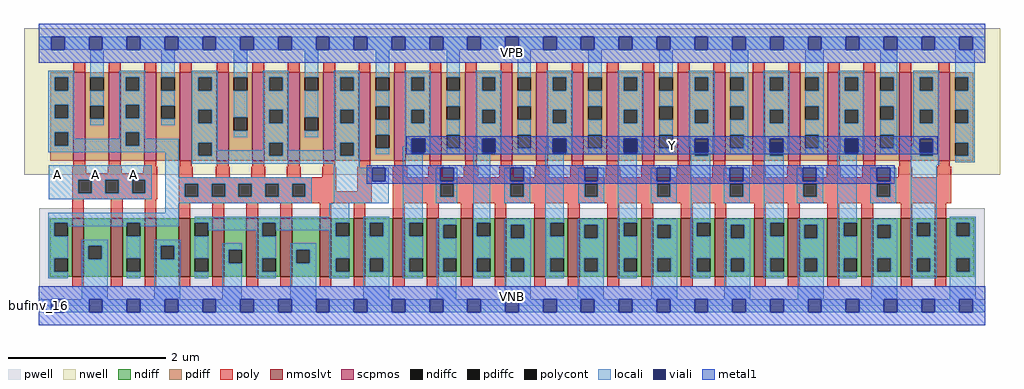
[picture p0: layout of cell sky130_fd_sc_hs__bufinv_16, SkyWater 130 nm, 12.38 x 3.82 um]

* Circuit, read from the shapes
.subckt sky130_fd_sc_hs__bufinv_16 A VGND VNB VPB VPWR Y
XM1 VGND A n1 VNB sky130_fd_pr__nfet_01v8_lvt w=0.74 l=0.15 m=3
XM2 n2 n1 VGND VNB sky130_fd_pr__nfet_01v8_lvt w=0.74 l=0.15 m=6
XM3 Y n2 VGND VNB sky130_fd_pr__nfet_01v8_lvt w=0.74 l=0.15 m=16
XM4 VPWR A n1 VPB sky130_fd_pr__pfet_01v8 w=1.12 l=0.15 m=3
XM5 n2 n1 VPWR VPB sky130_fd_pr__pfet_01v8 w=1.12 l=0.15 m=6
XM6 Y n2 VPWR VPB sky130_fd_pr__pfet_01v8 w=1.12 l=0.15 m=16
.ends

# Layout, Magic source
magic
tech sky130A
magscale 1 2
<< nwell >>
rect -38 332 2438 704
<< pwell >>
rect 1 49 2399 248
rect 0 0 2400 49
<< scpmos >>
rect 87 368 117 592
rect 177 368 207 592
rect 267 368 297 592
rect 357 368 387 592
rect 451 368 481 592
rect 541 368 571 592
rect 631 368 661 592
rect 721 368 751 592
rect 811 368 841 592
rect 901 368 931 592
rect 991 368 1021 592
rect 1081 368 1111 592
rect 1171 368 1201 592
rect 1261 368 1291 592
rect 1351 368 1381 592
rect 1441 368 1471 592
rect 1531 368 1561 592
rect 1621 368 1651 592
rect 1711 368 1741 592
rect 1811 368 1841 592
rect 1901 368 1931 592
rect 2001 368 2031 592
rect 2091 368 2121 592
rect 2183 368 2213 592
rect 2281 368 2311 592
<< nmoslvt >>
rect 84 74 114 222
rect 182 74 212 222
rect 268 74 298 222
rect 354 74 384 222
rect 440 74 470 222
rect 526 74 556 222
rect 612 74 642 222
rect 712 74 742 222
rect 798 74 828 222
rect 898 74 928 222
rect 984 74 1014 222
rect 1070 74 1100 222
rect 1156 74 1186 222
rect 1256 74 1286 222
rect 1342 74 1372 222
rect 1442 74 1472 222
rect 1528 74 1558 222
rect 1628 74 1658 222
rect 1714 74 1744 222
rect 1814 74 1844 222
rect 1900 74 1930 222
rect 2000 74 2030 222
rect 2086 74 2116 222
rect 2186 74 2216 222
rect 2272 74 2302 222
<< ndiff >>
rect 27 210 84 222
rect 27 176 39 210
rect 73 176 84 210
rect 27 120 84 176
rect 27 86 39 120
rect 73 86 84 120
rect 27 74 84 86
rect 114 152 182 222
rect 114 118 125 152
rect 159 118 182 152
rect 114 74 182 118
rect 212 210 268 222
rect 212 176 223 210
rect 257 176 268 210
rect 212 120 268 176
rect 212 86 223 120
rect 257 86 268 120
rect 212 74 268 86
rect 298 152 354 222
rect 298 118 309 152
rect 343 118 354 152
rect 298 74 354 118
rect 384 210 440 222
rect 384 176 395 210
rect 429 176 440 210
rect 384 120 440 176
rect 384 86 395 120
rect 429 86 440 120
rect 384 74 440 86
rect 470 142 526 222
rect 470 108 481 142
rect 515 108 526 142
rect 470 74 526 108
rect 556 210 612 222
rect 556 176 567 210
rect 601 176 612 210
rect 556 120 612 176
rect 556 86 567 120
rect 601 86 612 120
rect 556 74 612 86
rect 642 142 712 222
rect 642 108 653 142
rect 687 108 712 142
rect 642 74 712 108
rect 742 210 798 222
rect 742 176 753 210
rect 787 176 798 210
rect 742 120 798 176
rect 742 86 753 120
rect 787 86 798 120
rect 742 74 798 86
rect 828 210 898 222
rect 828 176 839 210
rect 873 176 898 210
rect 828 120 898 176
rect 828 86 839 120
rect 873 86 898 120
rect 828 74 898 86
rect 928 210 984 222
rect 928 176 939 210
rect 973 176 984 210
rect 928 120 984 176
rect 928 86 939 120
rect 973 86 984 120
rect 928 74 984 86
rect 1014 205 1070 222
rect 1014 171 1025 205
rect 1059 171 1070 205
rect 1014 120 1070 171
rect 1014 86 1025 120
rect 1059 86 1070 120
rect 1014 74 1070 86
rect 1100 210 1156 222
rect 1100 176 1111 210
rect 1145 176 1156 210
rect 1100 120 1156 176
rect 1100 86 1111 120
rect 1145 86 1156 120
rect 1100 74 1156 86
rect 1186 205 1256 222
rect 1186 171 1197 205
rect 1231 171 1256 205
rect 1186 120 1256 171
rect 1186 86 1197 120
rect 1231 86 1256 120
rect 1186 74 1256 86
rect 1286 210 1342 222
rect 1286 176 1297 210
rect 1331 176 1342 210
rect 1286 120 1342 176
rect 1286 86 1297 120
rect 1331 86 1342 120
rect 1286 74 1342 86
rect 1372 205 1442 222
rect 1372 171 1383 205
rect 1417 171 1442 205
rect 1372 120 1442 171
rect 1372 86 1383 120
rect 1417 86 1442 120
rect 1372 74 1442 86
rect 1472 210 1528 222
rect 1472 176 1483 210
rect 1517 176 1528 210
rect 1472 120 1528 176
rect 1472 86 1483 120
rect 1517 86 1528 120
rect 1472 74 1528 86
rect 1558 205 1628 222
rect 1558 171 1569 205
rect 1603 171 1628 205
rect 1558 120 1628 171
rect 1558 86 1569 120
rect 1603 86 1628 120
rect 1558 74 1628 86
rect 1658 210 1714 222
rect 1658 176 1669 210
rect 1703 176 1714 210
rect 1658 120 1714 176
rect 1658 86 1669 120
rect 1703 86 1714 120
rect 1658 74 1714 86
rect 1744 205 1814 222
rect 1744 171 1755 205
rect 1789 171 1814 205
rect 1744 120 1814 171
rect 1744 86 1755 120
rect 1789 86 1814 120
rect 1744 74 1814 86
rect 1844 210 1900 222
rect 1844 176 1855 210
rect 1889 176 1900 210
rect 1844 120 1900 176
rect 1844 86 1855 120
rect 1889 86 1900 120
rect 1844 74 1900 86
rect 1930 205 2000 222
rect 1930 171 1941 205
rect 1975 171 2000 205
rect 1930 120 2000 171
rect 1930 86 1941 120
rect 1975 86 2000 120
rect 1930 74 2000 86
rect 2030 210 2086 222
rect 2030 176 2041 210
rect 2075 176 2086 210
rect 2030 120 2086 176
rect 2030 86 2041 120
rect 2075 86 2086 120
rect 2030 74 2086 86
rect 2116 205 2186 222
rect 2116 171 2127 205
rect 2161 171 2186 205
rect 2116 120 2186 171
rect 2116 86 2127 120
rect 2161 86 2186 120
rect 2116 74 2186 86
rect 2216 210 2272 222
rect 2216 176 2227 210
rect 2261 176 2272 210
rect 2216 120 2272 176
rect 2216 86 2227 120
rect 2261 86 2272 120
rect 2216 74 2272 86
rect 2302 210 2373 222
rect 2302 176 2327 210
rect 2361 176 2373 210
rect 2302 120 2373 176
rect 2302 86 2327 120
rect 2361 86 2373 120
rect 2302 74 2373 86
<< pdiff >>
rect 28 580 87 592
rect 28 546 40 580
rect 74 546 87 580
rect 28 510 87 546
rect 28 476 40 510
rect 74 476 87 510
rect 28 440 87 476
rect 28 406 40 440
rect 74 406 87 440
rect 28 368 87 406
rect 117 580 177 592
rect 117 546 130 580
rect 164 546 177 580
rect 117 508 177 546
rect 117 474 130 508
rect 164 474 177 508
rect 117 368 177 474
rect 207 580 267 592
rect 207 546 220 580
rect 254 546 267 580
rect 207 510 267 546
rect 207 476 220 510
rect 254 476 267 510
rect 207 440 267 476
rect 207 406 220 440
rect 254 406 267 440
rect 207 368 267 406
rect 297 580 357 592
rect 297 546 310 580
rect 344 546 357 580
rect 297 508 357 546
rect 297 474 310 508
rect 344 474 357 508
rect 297 368 357 474
rect 387 580 451 592
rect 387 546 404 580
rect 438 546 451 580
rect 387 497 451 546
rect 387 463 404 497
rect 438 463 451 497
rect 387 414 451 463
rect 387 380 404 414
rect 438 380 451 414
rect 387 368 451 380
rect 481 580 541 592
rect 481 546 494 580
rect 528 546 541 580
rect 481 478 541 546
rect 481 444 494 478
rect 528 444 541 478
rect 481 368 541 444
rect 571 580 631 592
rect 571 546 584 580
rect 618 546 631 580
rect 571 497 631 546
rect 571 463 584 497
rect 618 463 631 497
rect 571 414 631 463
rect 571 380 584 414
rect 618 380 631 414
rect 571 368 631 380
rect 661 580 721 592
rect 661 546 674 580
rect 708 546 721 580
rect 661 478 721 546
rect 661 444 674 478
rect 708 444 721 478
rect 661 368 721 444
rect 751 580 811 592
rect 751 546 764 580
rect 798 546 811 580
rect 751 497 811 546
rect 751 463 764 497
rect 798 463 811 497
rect 751 414 811 463
rect 751 380 764 414
rect 798 380 811 414
rect 751 368 811 380
rect 841 580 901 592
rect 841 546 854 580
rect 888 546 901 580
rect 841 506 901 546
rect 841 472 854 506
rect 888 472 901 506
rect 841 434 901 472
rect 841 400 854 434
rect 888 400 901 434
rect 841 368 901 400
rect 931 580 991 592
rect 931 546 944 580
rect 978 546 991 580
rect 931 497 991 546
rect 931 463 944 497
rect 978 463 991 497
rect 931 418 991 463
rect 931 384 944 418
rect 978 384 991 418
rect 931 368 991 384
rect 1021 580 1081 592
rect 1021 546 1034 580
rect 1068 546 1081 580
rect 1021 506 1081 546
rect 1021 472 1034 506
rect 1068 472 1081 506
rect 1021 434 1081 472
rect 1021 400 1034 434
rect 1068 400 1081 434
rect 1021 368 1081 400
rect 1111 580 1171 592
rect 1111 546 1124 580
rect 1158 546 1171 580
rect 1111 497 1171 546
rect 1111 463 1124 497
rect 1158 463 1171 497
rect 1111 418 1171 463
rect 1111 384 1124 418
rect 1158 384 1171 418
rect 1111 368 1171 384
rect 1201 580 1261 592
rect 1201 546 1214 580
rect 1248 546 1261 580
rect 1201 506 1261 546
rect 1201 472 1214 506
rect 1248 472 1261 506
rect 1201 434 1261 472
rect 1201 400 1214 434
rect 1248 400 1261 434
rect 1201 368 1261 400
rect 1291 580 1351 592
rect 1291 546 1304 580
rect 1338 546 1351 580
rect 1291 497 1351 546
rect 1291 463 1304 497
rect 1338 463 1351 497
rect 1291 418 1351 463
rect 1291 384 1304 418
rect 1338 384 1351 418
rect 1291 368 1351 384
rect 1381 580 1441 592
rect 1381 546 1394 580
rect 1428 546 1441 580
rect 1381 506 1441 546
rect 1381 472 1394 506
rect 1428 472 1441 506
rect 1381 434 1441 472
rect 1381 400 1394 434
rect 1428 400 1441 434
rect 1381 368 1441 400
rect 1471 580 1531 592
rect 1471 546 1484 580
rect 1518 546 1531 580
rect 1471 497 1531 546
rect 1471 463 1484 497
rect 1518 463 1531 497
rect 1471 418 1531 463
rect 1471 384 1484 418
rect 1518 384 1531 418
rect 1471 368 1531 384
rect 1561 580 1621 592
rect 1561 546 1574 580
rect 1608 546 1621 580
rect 1561 506 1621 546
rect 1561 472 1574 506
rect 1608 472 1621 506
rect 1561 434 1621 472
rect 1561 400 1574 434
rect 1608 400 1621 434
rect 1561 368 1621 400
rect 1651 580 1711 592
rect 1651 546 1664 580
rect 1698 546 1711 580
rect 1651 497 1711 546
rect 1651 463 1664 497
rect 1698 463 1711 497
rect 1651 414 1711 463
rect 1651 380 1664 414
rect 1698 380 1711 414
rect 1651 368 1711 380
rect 1741 580 1811 592
rect 1741 546 1754 580
rect 1788 546 1811 580
rect 1741 506 1811 546
rect 1741 472 1754 506
rect 1788 472 1811 506
rect 1741 434 1811 472
rect 1741 400 1754 434
rect 1788 400 1811 434
rect 1741 368 1811 400
rect 1841 580 1901 592
rect 1841 546 1854 580
rect 1888 546 1901 580
rect 1841 497 1901 546
rect 1841 463 1854 497
rect 1888 463 1901 497
rect 1841 414 1901 463
rect 1841 380 1854 414
rect 1888 380 1901 414
rect 1841 368 1901 380
rect 1931 580 2001 592
rect 1931 546 1944 580
rect 1978 546 2001 580
rect 1931 506 2001 546
rect 1931 472 1944 506
rect 1978 472 2001 506
rect 1931 434 2001 472
rect 1931 400 1944 434
rect 1978 400 2001 434
rect 1931 368 2001 400
rect 2031 580 2091 592
rect 2031 546 2044 580
rect 2078 546 2091 580
rect 2031 497 2091 546
rect 2031 463 2044 497
rect 2078 463 2091 497
rect 2031 418 2091 463
rect 2031 384 2044 418
rect 2078 384 2091 418
rect 2031 368 2091 384
rect 2121 580 2183 592
rect 2121 546 2134 580
rect 2168 546 2183 580
rect 2121 506 2183 546
rect 2121 472 2134 506
rect 2168 472 2183 506
rect 2121 434 2183 472
rect 2121 400 2134 434
rect 2168 400 2183 434
rect 2121 368 2183 400
rect 2213 580 2281 592
rect 2213 546 2234 580
rect 2268 546 2281 580
rect 2213 497 2281 546
rect 2213 463 2234 497
rect 2268 463 2281 497
rect 2213 414 2281 463
rect 2213 380 2234 414
rect 2268 380 2281 414
rect 2213 368 2281 380
rect 2311 580 2370 592
rect 2311 546 2324 580
rect 2358 546 2370 580
rect 2311 497 2370 546
rect 2311 463 2324 497
rect 2358 463 2370 497
rect 2311 414 2370 463
rect 2311 380 2324 414
rect 2358 380 2370 414
rect 2311 368 2370 380
<< ndiffc >>
rect 39 176 73 210
rect 39 86 73 120
rect 125 118 159 152
rect 223 176 257 210
rect 223 86 257 120
rect 309 118 343 152
rect 395 176 429 210
rect 395 86 429 120
rect 481 108 515 142
rect 567 176 601 210
rect 567 86 601 120
rect 653 108 687 142
rect 753 176 787 210
rect 753 86 787 120
rect 839 176 873 210
rect 839 86 873 120
rect 939 176 973 210
rect 939 86 973 120
rect 1025 171 1059 205
rect 1025 86 1059 120
rect 1111 176 1145 210
rect 1111 86 1145 120
rect 1197 171 1231 205
rect 1197 86 1231 120
rect 1297 176 1331 210
rect 1297 86 1331 120
rect 1383 171 1417 205
rect 1383 86 1417 120
rect 1483 176 1517 210
rect 1483 86 1517 120
rect 1569 171 1603 205
rect 1569 86 1603 120
rect 1669 176 1703 210
rect 1669 86 1703 120
rect 1755 171 1789 205
rect 1755 86 1789 120
rect 1855 176 1889 210
rect 1855 86 1889 120
rect 1941 171 1975 205
rect 1941 86 1975 120
rect 2041 176 2075 210
rect 2041 86 2075 120
rect 2127 171 2161 205
rect 2127 86 2161 120
rect 2227 176 2261 210
rect 2227 86 2261 120
rect 2327 176 2361 210
rect 2327 86 2361 120
<< pdiffc >>
rect 40 546 74 580
rect 40 476 74 510
rect 40 406 74 440
rect 130 546 164 580
rect 130 474 164 508
rect 220 546 254 580
rect 220 476 254 510
rect 220 406 254 440
rect 310 546 344 580
rect 310 474 344 508
rect 404 546 438 580
rect 404 463 438 497
rect 404 380 438 414
rect 494 546 528 580
rect 494 444 528 478
rect 584 546 618 580
rect 584 463 618 497
rect 584 380 618 414
rect 674 546 708 580
rect 674 444 708 478
rect 764 546 798 580
rect 764 463 798 497
rect 764 380 798 414
rect 854 546 888 580
rect 854 472 888 506
rect 854 400 888 434
rect 944 546 978 580
rect 944 463 978 497
rect 944 384 978 418
rect 1034 546 1068 580
rect 1034 472 1068 506
rect 1034 400 1068 434
rect 1124 546 1158 580
rect 1124 463 1158 497
rect 1124 384 1158 418
rect 1214 546 1248 580
rect 1214 472 1248 506
rect 1214 400 1248 434
rect 1304 546 1338 580
rect 1304 463 1338 497
rect 1304 384 1338 418
rect 1394 546 1428 580
rect 1394 472 1428 506
rect 1394 400 1428 434
rect 1484 546 1518 580
rect 1484 463 1518 497
rect 1484 384 1518 418
rect 1574 546 1608 580
rect 1574 472 1608 506
rect 1574 400 1608 434
rect 1664 546 1698 580
rect 1664 463 1698 497
rect 1664 380 1698 414
rect 1754 546 1788 580
rect 1754 472 1788 506
rect 1754 400 1788 434
rect 1854 546 1888 580
rect 1854 463 1888 497
rect 1854 380 1888 414
rect 1944 546 1978 580
rect 1944 472 1978 506
rect 1944 400 1978 434
rect 2044 546 2078 580
rect 2044 463 2078 497
rect 2044 384 2078 418
rect 2134 546 2168 580
rect 2134 472 2168 506
rect 2134 400 2168 434
rect 2234 546 2268 580
rect 2234 463 2268 497
rect 2234 380 2268 414
rect 2324 546 2358 580
rect 2324 463 2358 497
rect 2324 380 2358 414
<< poly >>
rect 87 592 117 618
rect 177 592 207 618
rect 267 592 297 618
rect 357 592 387 618
rect 451 592 481 618
rect 541 592 571 618
rect 631 592 661 618
rect 721 592 751 618
rect 811 592 841 618
rect 901 592 931 618
rect 991 592 1021 618
rect 1081 592 1111 618
rect 1171 592 1201 618
rect 1261 592 1291 618
rect 1351 592 1381 618
rect 1441 592 1471 618
rect 1531 592 1561 618
rect 1621 592 1651 618
rect 1711 592 1741 618
rect 1811 592 1841 618
rect 1901 592 1931 618
rect 2001 592 2031 618
rect 2091 592 2121 618
rect 2183 592 2213 618
rect 2281 592 2311 618
rect 87 353 117 368
rect 177 353 207 368
rect 267 353 297 368
rect 357 353 387 368
rect 451 353 481 368
rect 541 353 571 368
rect 631 353 661 368
rect 721 353 751 368
rect 811 353 841 368
rect 901 353 931 368
rect 991 353 1021 368
rect 1081 353 1111 368
rect 1171 353 1201 368
rect 1261 353 1291 368
rect 1351 353 1381 368
rect 1441 353 1471 368
rect 1531 353 1561 368
rect 1621 353 1651 368
rect 1711 353 1741 368
rect 1811 353 1841 368
rect 1901 353 1931 368
rect 2001 353 2031 368
rect 2091 353 2121 368
rect 2183 353 2213 368
rect 2281 353 2311 368
rect 84 336 120 353
rect 174 336 210 353
rect 264 336 300 353
rect 84 320 300 336
rect 84 286 100 320
rect 134 286 168 320
rect 202 286 236 320
rect 270 286 300 320
rect 84 270 300 286
rect 354 326 390 353
rect 448 326 484 353
rect 538 326 574 353
rect 628 326 664 353
rect 718 326 754 353
rect 354 310 754 326
rect 354 276 370 310
rect 404 276 438 310
rect 472 276 506 310
rect 540 276 574 310
rect 608 276 642 310
rect 676 290 754 310
rect 808 290 844 353
rect 676 276 844 290
rect 84 222 114 270
rect 182 222 212 270
rect 268 222 298 270
rect 354 260 844 276
rect 898 326 934 353
rect 988 326 1024 353
rect 1078 326 1114 353
rect 1168 326 1204 353
rect 1258 326 1294 353
rect 1348 326 1384 353
rect 1438 326 1474 353
rect 1528 326 1564 353
rect 1618 326 1654 353
rect 1708 326 1744 353
rect 1808 326 1844 353
rect 1898 326 1934 353
rect 1998 326 2034 353
rect 2088 326 2124 353
rect 2180 326 2216 353
rect 2278 326 2314 353
rect 898 310 2314 326
rect 898 276 1018 310
rect 1052 276 1196 310
rect 1230 276 1384 310
rect 1418 276 1568 310
rect 1602 276 1753 310
rect 1787 276 1939 310
rect 1973 276 2125 310
rect 2159 276 2314 310
rect 898 260 2314 276
rect 354 222 384 260
rect 440 222 470 260
rect 526 222 556 260
rect 612 222 642 260
rect 712 222 742 260
rect 798 222 828 260
rect 898 222 928 260
rect 984 222 1014 260
rect 1070 222 1100 260
rect 1156 222 1186 260
rect 1256 222 1286 260
rect 1342 222 1372 260
rect 1442 222 1472 260
rect 1528 222 1558 260
rect 1628 222 1658 260
rect 1714 222 1744 260
rect 1814 222 1844 260
rect 1900 222 1930 260
rect 2000 222 2030 260
rect 2086 222 2116 260
rect 2186 222 2216 260
rect 2272 222 2302 260
rect 84 48 114 74
rect 182 48 212 74
rect 268 48 298 74
rect 354 48 384 74
rect 440 48 470 74
rect 526 48 556 74
rect 612 48 642 74
rect 712 48 742 74
rect 798 48 828 74
rect 898 48 928 74
rect 984 48 1014 74
rect 1070 48 1100 74
rect 1156 48 1186 74
rect 1256 48 1286 74
rect 1342 48 1372 74
rect 1442 48 1472 74
rect 1528 48 1558 74
rect 1628 48 1658 74
rect 1714 48 1744 74
rect 1814 48 1844 74
rect 1900 48 1930 74
rect 2000 48 2030 74
rect 2086 48 2116 74
rect 2186 48 2216 74
rect 2272 48 2302 74
<< polycont >>
rect 100 286 134 320
rect 168 286 202 320
rect 236 286 270 320
rect 370 276 404 310
rect 438 276 472 310
rect 506 276 540 310
rect 574 276 608 310
rect 642 276 676 310
rect 1018 276 1052 310
rect 1196 276 1230 310
rect 1384 276 1418 310
rect 1568 276 1602 310
rect 1753 276 1787 310
rect 1939 276 1973 310
rect 2125 276 2159 310
<< locali >>
rect 0 649 31 683
rect 65 649 127 683
rect 161 649 223 683
rect 257 649 319 683
rect 353 649 415 683
rect 449 649 511 683
rect 545 649 607 683
rect 641 649 703 683
rect 737 649 799 683
rect 833 649 895 683
rect 929 649 991 683
rect 1025 649 1087 683
rect 1121 649 1183 683
rect 1217 649 1279 683
rect 1313 649 1375 683
rect 1409 649 1471 683
rect 1505 649 1567 683
rect 1601 649 1663 683
rect 1697 649 1759 683
rect 1793 649 1855 683
rect 1889 649 1951 683
rect 1985 649 2047 683
rect 2081 649 2143 683
rect 2177 649 2239 683
rect 2273 649 2335 683
rect 2369 649 2400 683
rect 24 580 90 596
rect 24 546 40 580
rect 74 546 90 580
rect 24 510 90 546
rect 24 476 40 510
rect 74 476 90 510
rect 24 440 90 476
rect 130 580 164 649
rect 130 508 164 546
rect 130 458 164 474
rect 204 580 270 596
rect 204 546 220 580
rect 254 546 270 580
rect 204 510 270 546
rect 204 476 220 510
rect 254 476 270 510
rect 24 406 40 440
rect 74 424 90 440
rect 204 440 270 476
rect 310 580 344 649
rect 310 508 344 546
rect 310 458 344 474
rect 388 580 454 596
rect 388 546 404 580
rect 438 546 454 580
rect 388 497 454 546
rect 388 463 404 497
rect 438 463 454 497
rect 204 424 220 440
rect 74 406 220 424
rect 254 424 270 440
rect 254 406 354 424
rect 24 390 354 406
rect 25 320 286 356
rect 25 286 100 320
rect 134 286 168 320
rect 202 286 236 320
rect 270 286 286 320
rect 25 270 286 286
rect 320 326 354 390
rect 388 414 454 463
rect 494 580 528 649
rect 494 478 528 546
rect 494 428 528 444
rect 568 580 634 596
rect 568 546 584 580
rect 618 546 634 580
rect 568 497 634 546
rect 568 463 584 497
rect 618 463 634 497
rect 388 380 404 414
rect 438 394 454 414
rect 568 414 634 463
rect 674 580 708 649
rect 674 478 708 546
rect 674 428 708 444
rect 748 580 814 596
rect 748 546 764 580
rect 798 546 814 580
rect 748 497 814 546
rect 748 463 764 497
rect 798 463 814 497
rect 568 394 584 414
rect 438 380 584 394
rect 618 394 634 414
rect 748 414 814 463
rect 748 394 764 414
rect 618 380 764 394
rect 798 380 814 414
rect 854 580 888 649
rect 854 506 888 546
rect 854 434 888 472
rect 928 580 994 596
rect 928 546 944 580
rect 978 546 994 580
rect 928 497 994 546
rect 928 463 944 497
rect 978 463 994 497
rect 928 424 994 463
rect 928 418 946 424
rect 928 404 944 418
rect 854 384 888 400
rect 923 384 944 404
rect 980 390 994 424
rect 978 384 994 390
rect 1034 580 1068 649
rect 1034 506 1068 546
rect 1034 434 1068 472
rect 1108 580 1174 596
rect 1108 546 1124 580
rect 1158 546 1174 580
rect 1108 497 1174 546
rect 1108 463 1124 497
rect 1158 463 1174 497
rect 1108 424 1174 463
rect 1108 404 1124 424
rect 1034 384 1068 400
rect 1102 384 1124 404
rect 1158 384 1174 424
rect 1214 580 1248 649
rect 1214 506 1248 546
rect 1214 434 1248 472
rect 1288 580 1354 596
rect 1288 546 1304 580
rect 1338 546 1354 580
rect 1288 497 1354 546
rect 1288 463 1304 497
rect 1338 463 1354 497
rect 1288 424 1354 463
rect 1288 404 1304 424
rect 1214 384 1248 400
rect 1284 384 1304 404
rect 1338 384 1354 424
rect 1394 580 1428 649
rect 1394 506 1428 546
rect 1394 434 1428 472
rect 1394 384 1428 400
rect 1468 580 1534 596
rect 1468 546 1484 580
rect 1518 546 1534 580
rect 1468 497 1534 546
rect 1468 463 1484 497
rect 1518 463 1534 497
rect 1468 424 1534 463
rect 1468 384 1484 424
rect 1518 384 1534 424
rect 1574 580 1608 649
rect 1574 506 1608 546
rect 1574 434 1608 472
rect 1648 580 1714 596
rect 1648 546 1664 580
rect 1698 546 1714 580
rect 1648 497 1714 546
rect 1648 463 1664 497
rect 1698 463 1714 497
rect 1648 424 1714 463
rect 1648 404 1664 424
rect 1574 384 1608 400
rect 388 360 814 380
rect 748 350 814 360
rect 320 310 692 326
rect 320 276 370 310
rect 404 276 438 310
rect 472 276 506 310
rect 540 276 574 310
rect 608 276 642 310
rect 676 276 692 310
rect 320 260 692 276
rect 748 316 845 350
rect 879 316 887 350
rect 748 260 887 316
rect 320 236 354 260
rect 23 210 354 236
rect 737 226 787 260
rect 23 176 39 210
rect 73 202 223 210
rect 23 120 73 176
rect 257 202 354 210
rect 395 210 787 226
rect 23 86 39 120
rect 23 70 73 86
rect 109 152 175 168
rect 109 118 125 152
rect 159 118 175 152
rect 109 17 175 118
rect 223 120 257 176
rect 429 192 567 210
rect 223 70 257 86
rect 293 152 359 168
rect 293 118 309 152
rect 343 118 359 152
rect 293 17 359 118
rect 395 120 429 176
rect 551 176 567 192
rect 601 192 753 210
rect 395 70 429 86
rect 465 142 515 158
rect 465 108 481 142
rect 465 17 515 108
rect 551 120 601 176
rect 737 176 753 192
rect 551 86 567 120
rect 551 70 601 86
rect 637 142 703 158
rect 637 108 653 142
rect 687 108 703 142
rect 637 17 703 108
rect 737 120 787 176
rect 737 86 753 120
rect 737 70 787 86
rect 823 210 889 226
rect 823 176 839 210
rect 873 176 889 210
rect 823 120 889 176
rect 823 86 839 120
rect 873 86 889 120
rect 823 17 889 86
rect 923 210 973 384
rect 1007 316 1018 350
rect 1052 316 1061 350
rect 1007 310 1061 316
rect 1007 276 1018 310
rect 1052 276 1061 310
rect 1007 260 1061 276
rect 923 176 939 210
rect 923 120 973 176
rect 923 86 939 120
rect 923 70 973 86
rect 1009 205 1059 221
rect 1009 171 1025 205
rect 1009 120 1059 171
rect 1009 86 1025 120
rect 1009 17 1059 86
rect 1102 210 1145 384
rect 1180 316 1196 350
rect 1230 316 1246 350
rect 1180 310 1246 316
rect 1180 276 1196 310
rect 1230 276 1246 310
rect 1180 260 1246 276
rect 1102 176 1111 210
rect 1102 120 1145 176
rect 1102 86 1111 120
rect 1102 70 1145 86
rect 1181 205 1247 221
rect 1181 171 1197 205
rect 1231 171 1247 205
rect 1181 120 1247 171
rect 1181 86 1197 120
rect 1231 86 1247 120
rect 1181 17 1247 86
rect 1284 210 1331 384
rect 1368 316 1384 350
rect 1418 316 1434 350
rect 1368 310 1434 316
rect 1368 276 1384 310
rect 1418 276 1434 310
rect 1368 260 1434 276
rect 1284 176 1297 210
rect 1284 120 1331 176
rect 1284 86 1297 120
rect 1284 70 1331 86
rect 1367 205 1433 221
rect 1367 171 1383 205
rect 1417 171 1433 205
rect 1367 120 1433 171
rect 1367 86 1383 120
rect 1417 86 1433 120
rect 1367 17 1433 86
rect 1468 210 1517 384
rect 1653 380 1664 404
rect 1698 384 1714 424
rect 1754 580 1799 649
rect 1788 546 1799 580
rect 1754 506 1799 546
rect 1788 472 1799 506
rect 1754 434 1799 472
rect 1788 400 1799 434
rect 1838 580 1904 596
rect 1838 546 1854 580
rect 1888 546 1904 580
rect 1838 497 1904 546
rect 1838 463 1854 497
rect 1888 463 1904 497
rect 1838 424 1904 463
rect 1838 404 1854 424
rect 1754 384 1799 400
rect 1698 380 1703 384
rect 1552 316 1567 350
rect 1601 316 1618 350
rect 1552 310 1618 316
rect 1552 276 1568 310
rect 1602 276 1618 310
rect 1552 260 1618 276
rect 1468 176 1483 210
rect 1468 120 1517 176
rect 1468 86 1483 120
rect 1468 70 1517 86
rect 1553 205 1619 221
rect 1553 171 1569 205
rect 1603 171 1619 205
rect 1553 120 1619 171
rect 1553 86 1569 120
rect 1603 86 1619 120
rect 1553 17 1619 86
rect 1653 210 1703 380
rect 1839 380 1854 404
rect 1888 384 1904 424
rect 1944 580 1991 649
rect 1978 546 1991 580
rect 1944 506 1991 546
rect 1978 472 1991 506
rect 1944 434 1991 472
rect 1978 400 1991 434
rect 2028 580 2094 596
rect 2028 546 2044 580
rect 2078 546 2094 580
rect 2028 497 2094 546
rect 2028 463 2044 497
rect 2078 463 2094 497
rect 2028 424 2094 463
rect 2028 404 2044 424
rect 1944 384 1991 400
rect 2025 384 2044 404
rect 2078 384 2094 424
rect 2134 580 2177 649
rect 2168 546 2177 580
rect 2134 506 2177 546
rect 2168 472 2177 506
rect 2134 434 2177 472
rect 2168 400 2177 434
rect 2218 580 2284 596
rect 2218 546 2234 580
rect 2268 546 2284 580
rect 2218 497 2284 546
rect 2218 463 2234 497
rect 2268 463 2284 497
rect 2218 424 2284 463
rect 2218 404 2234 424
rect 2134 384 2177 400
rect 1888 380 1889 384
rect 1737 316 1753 350
rect 1787 316 1803 350
rect 1737 310 1803 316
rect 1737 276 1753 310
rect 1787 276 1803 310
rect 1737 260 1803 276
rect 1653 176 1669 210
rect 1653 120 1703 176
rect 1653 86 1669 120
rect 1653 70 1703 86
rect 1739 205 1805 221
rect 1739 171 1755 205
rect 1789 171 1805 205
rect 1739 120 1805 171
rect 1739 86 1755 120
rect 1789 86 1805 120
rect 1739 17 1805 86
rect 1839 210 1889 380
rect 1923 316 1938 350
rect 1972 316 1989 350
rect 1923 310 1989 316
rect 1923 276 1939 310
rect 1973 276 1989 310
rect 1923 260 1989 276
rect 1839 176 1855 210
rect 1839 120 1889 176
rect 1839 86 1855 120
rect 1839 70 1889 86
rect 1925 205 1991 221
rect 1925 171 1941 205
rect 1975 171 1991 205
rect 1925 120 1991 171
rect 1925 86 1941 120
rect 1975 86 1991 120
rect 1925 17 1991 86
rect 2025 210 2075 384
rect 2211 380 2234 404
rect 2268 380 2284 424
rect 2211 358 2284 380
rect 2324 580 2374 649
rect 2358 546 2374 580
rect 2324 497 2374 546
rect 2358 463 2374 497
rect 2324 414 2374 463
rect 2358 380 2374 414
rect 2324 364 2374 380
rect 2109 316 2125 350
rect 2159 316 2175 350
rect 2109 310 2175 316
rect 2109 276 2125 310
rect 2159 276 2175 310
rect 2109 260 2175 276
rect 2025 176 2041 210
rect 2025 120 2075 176
rect 2025 86 2041 120
rect 2025 70 2075 86
rect 2111 205 2177 221
rect 2111 171 2127 205
rect 2161 171 2177 205
rect 2111 120 2177 171
rect 2111 86 2127 120
rect 2161 86 2177 120
rect 2111 17 2177 86
rect 2211 210 2277 358
rect 2211 176 2227 210
rect 2261 176 2277 210
rect 2211 120 2277 176
rect 2211 86 2227 120
rect 2261 86 2277 120
rect 2211 70 2277 86
rect 2311 210 2377 226
rect 2311 176 2327 210
rect 2361 176 2377 210
rect 2311 120 2377 176
rect 2311 86 2327 120
rect 2361 86 2377 120
rect 2311 17 2377 86
rect 0 -17 31 17
rect 65 -17 127 17
rect 161 -17 223 17
rect 257 -17 319 17
rect 353 -17 415 17
rect 449 -17 511 17
rect 545 -17 607 17
rect 641 -17 703 17
rect 737 -17 799 17
rect 833 -17 895 17
rect 929 -17 991 17
rect 1025 -17 1087 17
rect 1121 -17 1183 17
rect 1217 -17 1279 17
rect 1313 -17 1375 17
rect 1409 -17 1471 17
rect 1505 -17 1567 17
rect 1601 -17 1663 17
rect 1697 -17 1759 17
rect 1793 -17 1855 17
rect 1889 -17 1951 17
rect 1985 -17 2047 17
rect 2081 -17 2143 17
rect 2177 -17 2239 17
rect 2273 -17 2335 17
rect 2369 -17 2400 17
<< viali >>
rect 31 649 65 683
rect 127 649 161 683
rect 223 649 257 683
rect 319 649 353 683
rect 415 649 449 683
rect 511 649 545 683
rect 607 649 641 683
rect 703 649 737 683
rect 799 649 833 683
rect 895 649 929 683
rect 991 649 1025 683
rect 1087 649 1121 683
rect 1183 649 1217 683
rect 1279 649 1313 683
rect 1375 649 1409 683
rect 1471 649 1505 683
rect 1567 649 1601 683
rect 1663 649 1697 683
rect 1759 649 1793 683
rect 1855 649 1889 683
rect 1951 649 1985 683
rect 2047 649 2081 683
rect 2143 649 2177 683
rect 2239 649 2273 683
rect 2335 649 2369 683
rect 946 418 980 424
rect 946 390 978 418
rect 978 390 980 418
rect 1124 418 1158 424
rect 1124 390 1158 418
rect 1304 418 1338 424
rect 1304 390 1338 418
rect 1484 418 1518 424
rect 1484 390 1518 418
rect 1664 414 1698 424
rect 845 316 879 350
rect 1018 316 1052 350
rect 1196 316 1230 350
rect 1384 316 1418 350
rect 1664 390 1698 414
rect 1854 414 1888 424
rect 1567 316 1601 350
rect 1854 390 1888 414
rect 2044 418 2078 424
rect 2044 390 2078 418
rect 2234 414 2268 424
rect 1753 316 1787 350
rect 1938 316 1972 350
rect 2234 390 2268 414
rect 2125 316 2159 350
rect 31 -17 65 17
rect 127 -17 161 17
rect 223 -17 257 17
rect 319 -17 353 17
rect 415 -17 449 17
rect 511 -17 545 17
rect 607 -17 641 17
rect 703 -17 737 17
rect 799 -17 833 17
rect 895 -17 929 17
rect 991 -17 1025 17
rect 1087 -17 1121 17
rect 1183 -17 1217 17
rect 1279 -17 1313 17
rect 1375 -17 1409 17
rect 1471 -17 1505 17
rect 1567 -17 1601 17
rect 1663 -17 1697 17
rect 1759 -17 1793 17
rect 1855 -17 1889 17
rect 1951 -17 1985 17
rect 2047 -17 2081 17
rect 2143 -17 2177 17
rect 2239 -17 2273 17
rect 2335 -17 2369 17
<< metal1 >>
rect 0 683 2400 715
rect 0 649 31 683
rect 65 649 127 683
rect 161 649 223 683
rect 257 649 319 683
rect 353 649 415 683
rect 449 649 511 683
rect 545 649 607 683
rect 641 649 703 683
rect 737 649 799 683
rect 833 649 895 683
rect 929 649 991 683
rect 1025 649 1087 683
rect 1121 649 1183 683
rect 1217 649 1279 683
rect 1313 649 1375 683
rect 1409 649 1471 683
rect 1505 649 1567 683
rect 1601 649 1663 683
rect 1697 649 1759 683
rect 1793 649 1855 683
rect 1889 649 1951 683
rect 1985 649 2047 683
rect 2081 649 2143 683
rect 2177 649 2239 683
rect 2273 649 2335 683
rect 2369 649 2400 683
rect 0 617 2400 649
rect 932 424 2280 430
rect 932 390 946 424
rect 980 390 1124 424
rect 1158 390 1304 424
rect 1338 390 1484 424
rect 1518 390 1664 424
rect 1698 390 1854 424
rect 1888 390 2044 424
rect 2078 390 2234 424
rect 2268 390 2280 424
rect 932 384 2280 390
rect 831 350 2171 356
rect 831 316 845 350
rect 879 316 1018 350
rect 1052 316 1196 350
rect 1230 316 1384 350
rect 1418 316 1567 350
rect 1601 316 1753 350
rect 1787 316 1938 350
rect 1972 316 2125 350
rect 2159 316 2171 350
rect 831 310 2171 316
rect 0 17 2400 49
rect 0 -17 31 17
rect 65 -17 127 17
rect 161 -17 223 17
rect 257 -17 319 17
rect 353 -17 415 17
rect 449 -17 511 17
rect 545 -17 607 17
rect 641 -17 703 17
rect 737 -17 799 17
rect 833 -17 895 17
rect 929 -17 991 17
rect 1025 -17 1087 17
rect 1121 -17 1183 17
rect 1217 -17 1279 17
rect 1313 -17 1375 17
rect 1409 -17 1471 17
rect 1505 -17 1567 17
rect 1601 -17 1663 17
rect 1697 -17 1759 17
rect 1793 -17 1855 17
rect 1889 -17 1951 17
rect 1985 -17 2047 17
rect 2081 -17 2143 17
rect 2177 -17 2239 17
rect 2273 -17 2335 17
rect 2369 -17 2400 17
rect 0 -49 2400 -17
<< labels >>
rlabel comment s 0 0 0 0 4 bufinv_16
flabel pwell s 0 0 2400 49 0 FreeSans 200 0 0 0 VNB
port 3 nsew ground bidirectional
flabel nwell s 0 617 2400 666 0 FreeSans 200 0 0 0 VPB
port 4 nsew power bidirectional
flabel metal1 s 932 384 2280 430 0 FreeSans 400 0 0 0 Y
port 6 nsew signal output
flabel metal1 s 0 617 2400 666 0 FreeSans 340 0 0 0 VPWR
port 5 nsew power bidirectional
flabel metal1 s 0 0 2400 49 0 FreeSans 340 0 0 0 VGND
port 2 nsew ground bidirectional
flabel locali s 31 316 65 350 0 FreeSans 340 0 0 0 A
port 1 nsew signal input
flabel locali s 127 316 161 350 0 FreeSans 340 0 0 0 A
port 1 nsew signal input
flabel locali s 223 316 257 350 0 FreeSans 340 0 0 0 A
port 1 nsew signal input
<< properties >>
string LEFsite unit
string LEFclass CORE
string FIXED_BBOX 0 0 2400 666
string GDS_FILE $PDKPATH/libs.ref/sky130_fd_sc_hs/gds/sky130_fd_sc_hs.gds
string LEFsymmetry X Y
string GDS_END 705158
string GDS_START 685038
<< end >>
